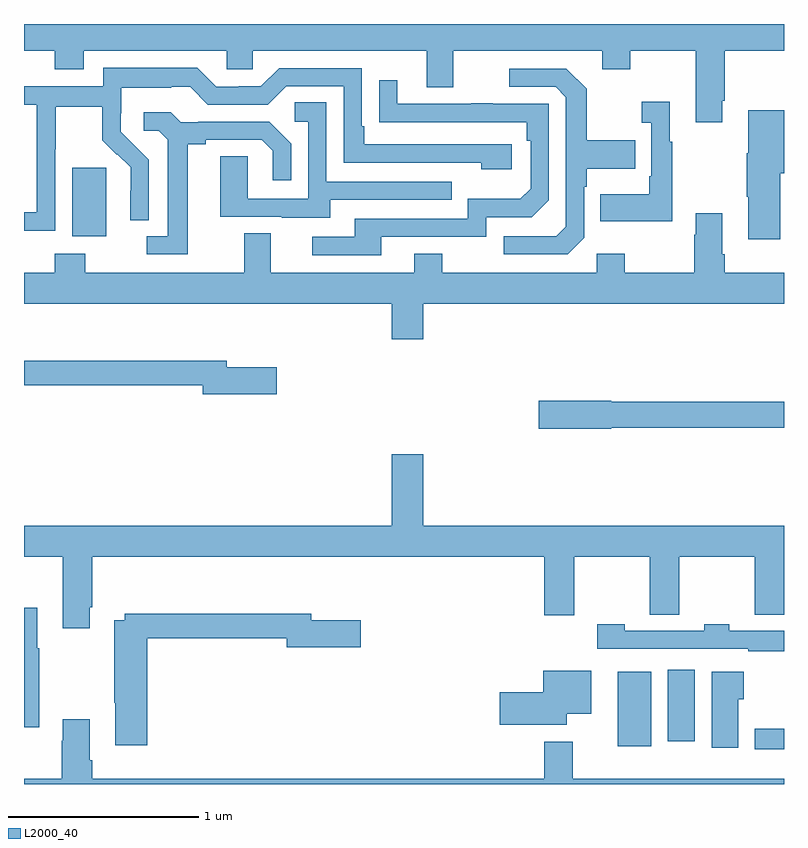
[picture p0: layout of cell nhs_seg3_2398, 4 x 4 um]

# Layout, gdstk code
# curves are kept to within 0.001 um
import gdstk
lib = gdstk.Library(unit=1e-6, precision=1e-09)
def R(c, l, rs):  # rectangles x0, y0, x1, y1
    for r in rs: c.add(gdstk.rectangle(r[:2], r[2:], *l))
def P(c, l, *ps):  # polygons
    for p in ps: c.add(gdstk.Polygon(p, *l))
L2000_40 = (2000, 40)

nhs_seg3_2398 = lib.new_cell('nhs_seg3_2398')
R(nhs_seg3_2398, L2000_40, [(238.845,686.582,239,686.692), (238.124,686.6,238.3,686.992), (238.388,686.625,238.531,687.001), (235.253,689.282,235.432,689.643)])
P(nhs_seg3_2398, L2000_40, [(238.675,689.995),(238.688,689.995),(238.688,690.26),(239,690.26),(239,690.4),(235,690.4),(235,690.26),(235.163,690.26),(235.163,690.161),(235.315,690.161),(235.315,690.26),(236.067,690.26),(236.067,690.162),(236.205,690.162),(236.205,690.26),(237.119,690.26),(237.119,690.066),(237.259,690.066),(237.259,690.26),(238.043,690.26),(238.043,690.161),(238.191,690.161),(238.191,690.26),(238.535,690.26),(238.535,689.883),(238.675,689.883)],
  [(235.164,689.74),(235.167,689.74),(235.167,689.964),(235.411,689.964),(235.411,689.789),(235.488,689.712),(235.491,689.715),(235.562,689.645),(235.562,689.522),(235.56,689.522),(235.56,689.368),(235.656,689.368),(235.656,689.686),(235.51,689.834),(235.51,689.931),(235.512,689.931),(235.512,690.065),(235.775,690.065),(235.775,690.069),(235.875,690.069),(235.968,689.976),(236.283,689.976),(236.379,690.072),(236.682,690.072),(236.682,689.67),(237.407,689.67),(237.407,689.636),(237.568,689.636),(237.568,689.766),(236.791,689.766),(236.791,689.863),(236.778,689.863),(236.778,690.168),(236.343,690.168),(236.247,690.072),(236.129,690.072),(236.129,690.069),(236.013,690.069),(235.913,690.169),(235.416,690.169),(235.416,690.072),(235,690.072),(235,689.976),(235.068,689.976),(235.068,689.409),(235,689.409),(235,689.311),(235.164,689.311)],
  [(237.948,689.274),(237.948,689.543),(237.961,689.543),(237.961,689.639),(238.217,689.639),(238.217,689.787),(237.961,689.787),(237.961,690.059),(237.855,690.165),(237.555,690.165),(237.555,690.069),(237.798,690.069),(237.852,690.015),(237.852,689.334),(237.801,689.283),(237.525,689.283),(237.525,689.187),(237.861,689.187)],
  [(236.881,689.28),(237.432,689.28),(237.432,689.382),(237.672,689.382),(237.762,689.472),(237.762,689.979),(237.467,689.979),(237.467,689.984),(237.355,689.984),(237.355,689.979),(236.965,689.979),(236.965,690.103),(236.869,690.103),(236.869,689.884),(237.646,689.883),(237.646,689.786),(237.666,689.786),(237.666,689.532),(237.613,689.479),(237.336,689.479),(237.336,689.376),(236.741,689.376),(236.741,689.28),(236.517,689.28),(236.517,689.184),(236.881,689.184)],
  [(238.411,689.779),(238.399,689.779),(238.399,689.992),(238.251,689.992),(238.251,689.879),(238.302,689.879),(238.302,689.599),(238.29,689.599),(238.29,689.503),(238.033,689.503),(238.033,689.363),(238.411,689.363)],
  [(236.611,689.475),(237.251,689.475),(237.251,689.571),(236.592,689.571),(236.592,689.987),(236.424,689.987),(236.424,689.886),(236.496,689.886),(236.496,689.481),(236.178,689.481),(236.178,689.705),(236.033,689.705),(236.033,689.385),(236.357,689.385),(236.357,689.381),(236.611,689.381)],
  [(238.979,689.615),(239,689.615),(239,689.947),(238.811,689.947),(238.811,689.719),(238.804,689.719),(238.804,689.491),(238.811,689.491),(238.811,689.268),(238.979,689.268)],
  [(235.861,689.768),(235.957,689.768),(235.957,689.79),(236.252,689.79),(236.309,689.733),(236.309,689.577),(236.406,689.577),(236.406,689.77),(236.29,689.886),(235.918,689.886),(235.918,689.883),(235.824,689.883),(235.772,689.935),(235.629,689.935),(235.629,689.838),(235.71,689.838),(235.757,689.791),(235.757,689.283),(235.647,689.283),(235.647,689.187),(235.861,689.187)],
  [(237.1,688.928),(239,688.928),(239,689.092),(238.688,689.092),(238.688,689.188),(238.675,689.188),(238.675,689.404),(238.535,689.404),(238.535,689.291),(238.528,689.291),(238.528,689.092),(238.161,689.092),(238.161,689.191),(238.014,689.191),(238.014,689.092),(237.201,689.092),(237.201,689.191),(237.053,689.191),(237.053,689.092),(236.299,689.092),(236.299,689.3),(236.159,689.3),(236.159,689.092),(235.323,689.092),(235.323,689.191),(235.163,689.191),(235.163,689.092),(235,689.092),(235,688.928),(236.936,688.928),(236.936,688.74),(237.1,688.74)],
  [(236.329,688.593),(236.068,688.593),(236.068,688.627),(235,688.627),(235,688.498),(235.94,688.498),(235.94,688.451),(236.329,688.451)],
  [(238.092,688.276),(239,688.276),(239,688.412),(238.092,688.412),(238.092,688.418),(237.708,688.418),(237.708,688.271),(238.092,688.271)],
  [(235.345,687.331),(235.358,687.331),(235.358,687.596),(237.737,687.596),(237.737,687.288),(237.897,687.288),(237.897,687.596),(238.294,687.596),(238.294,687.292),(238.448,687.292),(238.448,687.596),(238.846,687.596),(238.846,687.292),(239,687.292),(239,687.76),(237.1,687.76),(237.1,688.135),(236.936,688.135),(236.936,687.76),(235,687.76),(235,687.596),(235.205,687.596),(235.205,687.219),(235.345,687.219)],
  [(235.081,687.115),(235.069,687.115),(235.069,687.328),(235,687.328),(235,686.699),(235.081,686.699)],
  [(235.649,687.166),(236.384,687.166),(236.384,687.119),(236.773,687.119),(236.773,687.261),(236.512,687.261),(236.512,687.295),(235.53,687.295),(235.53,687.262),(235.474,687.262),(235.474,686.827),(235.481,686.827),(235.481,686.604),(235.649,686.604)],
  [(239,687.207),(238.713,687.207),(238.713,687.24),(238.581,687.24),(238.581,687.207),(238.161,687.207),(238.161,687.24),(238.017,687.24),(238.017,687.111),(238.813,687.111),(238.813,687.099),(239,687.099)],
  [(237.856,686.771),(237.985,686.771),(237.985,686.995),(237.734,686.995),(237.734,686.882),(237.504,686.882),(237.504,686.711),(237.856,686.711)],
  [(238.759,686.845),(238.789,686.845),(238.789,686.992),(238.619,686.992),(238.619,686.592),(238.759,686.592)],
  [(239,686.428),(237.889,686.428),(237.889,686.623),(237.737,686.623),(237.737,686.428),(235.358,686.428),(235.358,686.524),(235.345,686.524),(235.345,686.74),(235.205,686.74),(235.205,686.627),(235.198,686.627),(235.198,686.428),(235,686.428),(235,686.4),(239,686.4)])

lib.write_gds('nhs_seg3_2398.gds')
